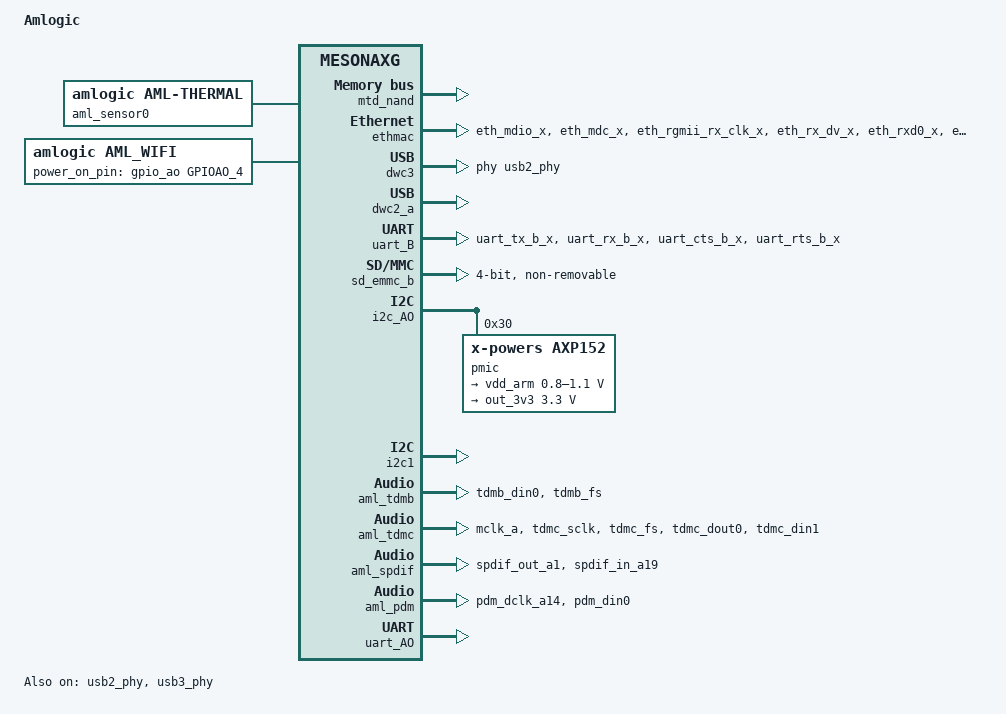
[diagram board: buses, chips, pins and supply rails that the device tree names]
/*
 * arch/arm64/boot/dts/amlogic/axg_s42a3_v03.dts
 *
 * Copyright (C) 2017 Amlogic, Inc. All rights reserved.
 *
 * This program is free software; you can redistribute it and/or modify
 * it under the terms of the GNU General Public License as published by
 * the Free Software Foundation; either version 2 of the License, or
 * (at your option) any later version.
 *
 * This program is distributed in the hope that it will be useful, but WITHOUT
 * ANY WARRANTY; without even the implied warranty of MERCHANTABILITY or
 * FITNESS FOR A PARTICULAR PURPOSE.  See the GNU General Public License for
 * more details.
 *
 */

/dts-v1/;

#include "mesonaxg.dtsi"

/ {
	model = "Amlogic";
	amlogic-dt-id = "axg_sue_s1832";
	compatible = "sue,stream1832", "amlogic, axg";
	interrupt-parent = <&gic>;
	#address-cells = <2>;
	#size-cells = <2>;

	cpu_opp_table: cpu_opp_table {
		compatible = "operating-points-v2";
		opp-shared;

		opp100MHz: opp@100000000 {
			opp-hz = /bits/ 64 <100000000>;
			opp-microvolt = <875000>;
		};
		opp250MHz: opp@250000000 {
			opp-hz = /bits/ 64 <250000000>;
			opp-microvolt = <875000>;
		};
		opp500MHz: opp@500000000 {
			opp-hz = /bits/ 64 <500000000>;
			opp-microvolt = <875000>;
		};
		opp667MHz: opp@667000000 {
			opp-hz = /bits/ 64 <667000000>;
			opp-microvolt = <900000>;
		};
		opp1GHz: opp@1000000000 {
			opp-hz = /bits/ 64 <1000000000>;
			opp-microvolt = <975000>;
		};
		opp1_2GHz: opp@1200000000 {
			opp-hz = /bits/ 64 <1200000000>;
			opp-microvolt = <1000000>;
		};
		opp1_3GHz: opp@1296000000 {
			opp-hz = /bits/ 64 <1296000000>;
			opp-microvolt = <1050000>;
		};
		opp1_4GHz: opp@1416000000 {
			opp-hz = /bits/ 64 <1416000000>;
			opp-microvolt = <1100000>;
		};
	};


	aliases {
		serial0 = &uart_AO;
		serial1 = &uart_B;
	};

	memory@00000000 {
		device_type = "memory";
		linux,usable-memory = <0x0 0x000000 0x0 0x20000000>;
	};

	reserved-memory {
		#address-cells = <2>;
		#size-cells = <2>;
		ranges;
		/* global autoconfigured region for contiguous allocations */
		secmon_reserved:linux,secmon {
			compatible = "shared-dma-pool";
			reusable;
			size = <0x0 0x400000>;
			alignment = <0x0 0x400000>;
			alloc-ranges = <0x0 0x05000000 0x0 0x400000>;
		};

		secos_reserved:linux,secos {
			status = "disable";
			compatible = "amlogic, aml_secos_memory";
			reg = <0x0 0x05300000 0x0 0x2000000>;
			no-map;
		};
	};
	mtd_nand {
		compatible = "amlogic, aml_mtd_nand";
		dev_name = "mtdnand";
		status = "okay";
		reg = <0x0 0xFFE07800 0x0 0x200>;
		interrupts = <	0 34 1 >;
		pinctrl-names = "nand_rb_mod","nand_norb_mod", "nand_cs_only";
		pinctrl-0 = <&all_nand_pins>;
		pinctrl-1 = <&all_nand_pins>;
		pinctrl-2 = <&nand_cs_pins>;
		device_id = <0>;

		/*fip/tpl configurations, must be same
		 * with uboot if bl_mode was set as 1
		 * bl_mode: 0 compact mode; 1 descrete mode
		 * if bl_mode was set as 1, fip configeration will work
		 */
		bl_mode = <1>;
		/*copy count of fip*/
		fip_copies = <4>;
		/*size of each fip copy */
		fip_size = <0x200000>;
		nand_clk_ctrl = <0xFFE07000>;
		plat-names = "bootloader","nandnormal";
		plat-num = <2>;
		plat-part-0 = <&bootloader>;
		plat-part-1 = <&nandnormal>;
		bootloader: bootloader{
			enable_pad ="ce0";
			busy_pad = "rb0";
			timming_mode = "mode5";
			bch_mode = "bch8_1k";
			t_rea = <20>;
			t_rhoh = <15>;
			chip_num = <1>;
			part_num = <0>;
			rb_detect = <1>;
		};
		nandnormal: nandnormal{
			enable_pad ="ce0";
			busy_pad = "rb0";
			timming_mode = "mode5";
			bch_mode = "bch8_1k";
			plane_mode = "twoplane";
			t_rea = <20>;
			t_rhoh = <15>;
			chip_num = <2>;
			part_num = <3>;
			partition = <&nand_partitions>;
			rb_detect = <1>;
		};
		nand_partitions:nand_partition{
			/*
			 * if bl_mode is 1, tpl size was generate by
			 * fip_copies * fip_size which
			 * will not skip bad when calculating
			 * the partition size;
			 *
			 * if bl_mode is 0,
			 * tpl partition must be comment out.
			 */
			tpl{
				offset=<0x0 0x0>;
				size=<0x0 0x0>;
			};
			swuenv{
				offset=<0x0 0x0>;
				size=<0x0 0x80000>;
			};
			swufit{
				offset=<0x0 0x0>;
				size=<0x0 0x2000000>;
			};
			fit{
				offset=<0x0 0x0>;
				size=<0x0 0xC00000>;
			};
			constants{
				offset=<0x0 0x0>;
				size=<0x0 0x80000>;
			};
			data{
				offset=<0xffffffff 0xffffffff>;
				size=<0x0 0x0>;
			};
		};
	};


	ethmac: ethernet@0xff3f0000 {
			compatible = "amlogic, gxbb-eth-dwmac";

			pinctrl-0 = <&external_eth_pins_x>;
			pinctrl-names = "external_eth_pins";

			reg = <0x0 0xff3f0000 0x0 0x10000 0x0 0xff634540 0x0 0x8>;
			interrupts = <0 8 1>;
			mc_val_external_phy = <0x180C>;
			interrupt-names = "macirq";
			clocks = <&clkc CLKID_ETH_CORE>;
			clock-names = "ethclk81";
			internal_phy=<0>;

			snps,reset-gpio = <&gpio_ao GPIOAO_7 GPIO_ACTIVE_LOW>;
			snps,reset-active-low = <1>;
			snps,reset-delays-us = <1000 10000 1000>;
	};

	aml_sensor0: aml-sensor@0 {
		compatible = "amlogic, aml-thermal";
		device_name = "thermal";
		#thermal-sensor-cells = <1>;
		cooling_devices {
			cpufreq_cool_cluster0 {
				min_state = <1000000>;
				dyn_coeff = <140>;
				cluster_id = <0>;
				node_name = "cpufreq_cool0";
				device_type = "cpufreq";
			};
			cpucore_cool_cluster0 {
				min_state = <1>;
				dyn_coeff = <0>;
				cluster_id = <0>;
				node_name = "cpucore_cool0";
				device_type = "cpucore";
			};
		};
		cpufreq_cool0:cpufreq_cool0 {
			#cooling-cells = <2>; /* min followed by max */
		};
		cpucore_cool0:cpucore_cool0 {
			#cooling-cells = <2>; /* min followed by max */
		};
	};
	thermal-zones {
		soc_thermal {
			polling-delay = <1000>;
			polling-delay-passive = <100>;
			sustainable-power = <1050>;

			thermal-sensors = <&aml_sensor0 3>;

			trips {
				switch_on: trip-point@0 {
					temperature = <70000>;
					hysteresis = <1000>;
					type = "passive";
				};
				control: trip-point@1 {
					temperature = <80000>;
					hysteresis = <1000>;
					type = "passive";
				};
				hot: trip-point@2 {
					temperature = <85000>;
					hysteresis = <5000>;
					type = "hot";
				};
				critical: trip-point@3 {
					temperature = <260000>;
					hysteresis = <1000>;
					type = "critical";
				};
			};

			cooling-maps {
				cpufreq_cooling_map {
					trip = <&control>;
					cooling-device = <&cpufreq_cool0 0 4>;
					contribution = <1024>;
				};
				cpucore_cooling_map {
					trip = <&control>;
					cooling-device = <&cpucore_cool0 0 3>;
					contribution = <1024>;
				};
			};
		};
	};

	dwc3: dwc3@ff500000 {
		compatible = "synopsys, dwc3";
		status = "okay";
		reg = <0x0 0xff500000 0x0 0x100000>;
		interrupts = <0 30 4>;
		usb-phy = <&usb2_phy>, <&usb3_phy>;
		cpu-type = "gxl";
		clock-src = "usb3.0";
		clocks = <&clkc CLKID_USB_GENERAL>;
		clock-names = "dwc_general";
	};

	usb2_phy: usb2phy@ffe09000 {
		compatible = "amlogic, amlogic-new-usb2";
		status = "okay";
		portnum = <4>;
		reg = <0x0 0xffe09000 0x0 0x80
					0x0 0xffd01008 0x0 0x4>;
	};

	usb3_phy: usb3phy@ffe09080 {
		compatible = "amlogic, amlogic-new-usb3";
		status = "okay";
		portnum = <0>;
		reg = <0x0 0xffe09080 0x0 0x20>;
		interrupts = <0 16 4>;
		otg = <1>;

		gpio-vbus-power = "GPIOAO_12";
		gpios = <&gpio_ao GPIOAO_12 GPIO_ACTIVE_HIGH>;
	};

	dwc2_a {
		compatible = "amlogic, dwc2";
		device_name = "dwc2_a";
		reg = <0x0 0xff400000 0x0 0x40000>;
		status = "okay";
		interrupts = <0 31 4>;
		pl-periph-id = <0>; /** lm name */
		clock-src = "usb0"; /** clock src */
		port-id = <0>;  /** ref to mach/usb.h */
		port-type = <2>;        /** 0: otg, 1: host, 2: slave */
		port-speed = <0>; /** 0: default, high, 1: full */
		port-config = <0>; /** 0: default */
		/*0:default,1:single,2:incr,3:incr4,4:incr8,5:incr16,6:disable*/
		port-dma = <0>;
		port-id-mode = <0>; /** 0: hardware, 1: sw_host, 2: sw_slave*/
		usb-fifo = <728>;
		cpu-type = "gxl";
		/** 0: normal, 1: otg+dwc3 host only, 2: otg+dwc3 device only*/
		controller-type = <3>;
		phy-reg = <0xffe09000>;
		phy-reg-size = <0xa0>;
		clocks = <&clkc CLKID_USB_GENERAL
			&clkc CLKID_USB1_TO_DDR
			&clkc CLKID_USB1>;
		clock-names = "usb_general",
			"usb1",
			"usb1_to_ddr";
	};

	uart_B: serial@ffd23000 {
		compatible = "amlogic, meson-uart";
		reg = <0x0 0xffd23000 0x0 0x18>;
		interrupts = <0 75 1>;
		status = "okay";
		clocks = <&xtal
			&clkc CLKID_UART1>;
		clock-names = "clk_uart",
			"clk_gate";
		fifosize = < 64 >;
		pinctrl-names = "default";
		pinctrl-0 = <&uart_b_pins_x>;
	};

	/* Sound iomap */
	aml_snd_iomap {
		compatible = "amlogic, axg-snd-iomap";
		status = "okay";
		#address-cells=<2>;
		#size-cells=<2>;
		ranges;
		pdm_bus {
			reg = <0x0 0xFF632000 0x0 0x20>;
		};
		audiobus_base {
			reg = <0x0 0xFF642000 0x0 0x2000>;
		};
	};
	pdm_codec:dummy{
		#sound-dai-cells = <0>;
		compatible = "amlogic, pdm_dummy_codec";
		status = "okay";
	};
	dummy_codec:dummy{
		#sound-dai-cells = <0>;
		compatible = "amlogic, aml_dummy_codec";
		status = "okay";
	};

	auge_sound {
		compatible = "amlogic, axg-sound-card";
		aml-audio-card,name = "AML-AUGESOUND";

		/*
		aml-audio-card,loopback = <&aml_loopback>;
		*/

		spk_mute = <&gpio_ao GPIOAO_13 GPIO_ACTIVE_LOW>;

		aml-audio-card,dai-link@1 {
			format = "i2s";
			mclk-fs = <256>;
			bitclock-master = <&aml_tdmb>;
			frame-master = <&aml_tdmb>;
			cpu {
				sound-dai = <&aml_tdmb>;
				dai-tdm-slot-tx-mask = <1 1>;
				dai-tdm-slot-rx-mask = <1 1>;
				dai-tdm-slot-num = <2>;
				dai-tdm-slot-width = <32>;
				system-clock-frequency = <12288000>;
			};
			codec {
				sound-dai = <&dummy_codec>;
			};
		};

		aml-audio-card,dai-link@2 {
			format = "i2s";
			mclk-fs = <512>;
			continuous-clock;
			bitclock-master = <&aml_tdmc>;
			frame-master = <&aml_tdmc>;
			cpu {
				sound-dai = <&aml_tdmc>;
				dai-tdm-slot-tx-mask = <1 1>;
				dai-tdm-slot-rx-mask = <1 1>;
				dai-tdm-slot-num = <2>;
				dai-tdm-slot-width = <32>;
				system-clock-frequency = <24576000>;
			};
			codec {
				sound-dai = <&dummy_codec>;
			};
		};

		aml-audio-card,dai-link@3 {
			mclk-fs = <256>;
			cpu {
				sound-dai = <&aml_pdm>;
			};
			codec {
				sound-dai = <&pdm_codec>;
			};
		};

		aml-audio-card,dai-link@4 {
			mclk-fs = <128>;
			cpu {
				sound-dai = <&aml_spdif>;
				system-clock-frequency = <6144000>;
			};
			codec {
				sound-dai = <&dummy_codec>;
			};
		};
	};

	wifi {
		compatible = "amlogic, aml_wifi";
		dev_name = "aml_wifi";
		status = "okay";

		power_on_pin = <&gpio_ao GPIOAO_4 GPIO_ACTIVE_HIGH>;
	};

	sd_emmc_c: emmc@ffe07000 {
		status = "disabled";
		compatible = "amlogic, meson-mmc-axg";
		reg = <0x0 0xffe07000 0x0 0x2000>;
		interrupts = <0 218 1>;
		pinctrl-names = "emmc_clk_cmd_pins", "emmc_all_pins";
		pinctrl-0 = <&emmc_clk_cmd_pins>;
		pinctrl-1 = <&emmc_conf_pull_up &emmc_conf_pull_done>;
		clocks = <&clkc CLKID_SD_EMMC_C>,
			   <&clkc CLKID_SD_EMMC_C_P0_COMP>,
			   <&clkc CLKID_FCLK_DIV2>,
			   <&clkc CLKID_FCLK_DIV5>,
			   <&xtal>;
		clock-names = "core", "clkin0", "clkin1", "clkin2", "xtal";

		bus-width = <8>;
		cap-sd-highspeed;
		cap-mmc-highspeed;
		mmc-ddr-1_8v;
		mmc-hs200-1_8v;

		max-frequency = <200000000>;
		non-removable;
		disable-wp;
		emmc {
			status = "disabled";
			pinname = "emmc";
			ocr_avail = <0x200080>; /**VDD voltage 3.3 ~ 3.4 */
			caps = "MMC_CAP_8_BIT_DATA",
				 "MMC_CAP_MMC_HIGHSPEED",
				 "MMC_CAP_SD_HIGHSPEED",
				 "MMC_CAP_NONREMOVABLE",
				 "MMC_CAP_1_8V_DDR",
				 "MMC_CAP_HW_RESET",
				 "MMC_CAP_ERASE",
				 "MMC_CAP_CMD23";
			/*caps2 = "MMC_CAP2_HS200", "MMC_CAP2_HS400";*/
			f_min = <400000>;
			f_max = <100000000>;
			max_req_size = <0x20000>; /**128KB*/
			gpio_dat3 = <&gpio BOOT_3 GPIO_ACTIVE_HIGH>;
			hw_reset = <&gpio BOOT_9 GPIO_ACTIVE_HIGH>;
			pinmux_base = <0xff634400>;
			card_type = <1>;
			/* 1:mmc card(include eMMC),
			 * 2:sd card(include tSD)
			 */
		};
	};

	sd_emmc_b:sdio@ffe05000 {
		status = "okay";
		compatible = "amlogic, meson-mmc-axg";
		reg = <0x0 0xffe05000 0x0 0x2000>;
		interrupts = <0 217 4>;
		pinctrl-names = "sdio_clk_cmd_pins", "sdio_all_pins";
		pinctrl-0 = <&sdio_clk_cmd_pins>;
		pinctrl-1 = <&sdio_all_pins>;
		clocks = <&clkc CLKID_SD_EMMC_B>,
			   <&clkc CLKID_SD_EMMC_B_P0_COMP>,
			   <&clkc CLKID_FCLK_DIV2>;
		clock-names = "core", "clkin0", "clkin1";

		bus-width = <4>;
		cap-sd-highspeed;
		cap-mmc-highspeed;
		max-frequency = <100000000>;
		non-removable;
		disable-wp;
		sdio {
			pinname = "sdio";
			ocr_avail = <0x200080>; /**VDD voltage 3.3 ~ 3.4 */
			caps = "MMC_CAP_4_BIT_DATA",
				 "MMC_CAP_MMC_HIGHSPEED",
				 "MMC_CAP_SD_HIGHSPEED",
				 "MMC_CAP_NONREMOVABLE",
				 "MMC_CAP_UHS_SDR12",
				 "MMC_CAP_UHS_SDR25",
				 "MMC_CAP_UHS_SDR50",
				 "MMC_CAP_UHS_SDR104",
				 "MMC_PM_KEEP_POWER",
				 "MMC_CAP_SDIO_IRQ";
			f_min = <400000>;
			f_max = <200000000>;
			max_req_size = <0x20000>; /**128KB*/
			card_type = <3>;
			/* 3:sdio device(ie:sdio-wifi),
			 * 4:SD combo (IO+mem) card
			 */
		};
	};

	partitions: partitions{
		parts = <11>;
		part-0 = <&logo>;
		part-1 = <&recovery>;
		part-2 = <&rsv>;
		part-3 = <&tee>;
		part-4 = <&crypt>;
		part-5 = <&misc>;
		part-6 = <&instaboot>;
		part-7 = <&boot>;
		part-8 = <&system>;
		part-9 = <&cache>;
		part-10 = <&data>;

		logo:logo{
			pname = "logo";
			size = <0x0 0x2000000>;
			mask = <1>;
		};
		recovery:recovery{
			pname = "recovery";
			size = <0x0 0x2000000>;
			mask = <1>;
		};
		rsv:rsv{
			pname = "rsv";
			size = <0x0 0x800000>;
			mask = <1>;
		};
		tee:tee{
			pname = "tee";
			size = <0x0 0x800000>;
			mask = <1>;
		};
		crypt:crypt{
			pname = "crypt";
			size = <0x0 0x2000000>;
			mask = <1>;
		};
		misc:misc{
			pname = "misc";
			size = <0x0 0x2000000>;
			mask = <1>;
		};
		instaboot:instaboot{
			pname = "instaboot";
			size = <0x0 0x400000>;
			mask = <1>;
		};
		boot:boot
		{
			pname = "boot";
			size = <0x0 0x2000000>;
			mask = <1>;
		};
		system:system
		{
			pname = "system";
			size = <0x0 0x80000000>;
			mask = <1>;
		};
		cache:cache
		{
			pname = "cache";
			size = <0x0 0x20000000>;
			mask = <2>;
		};
		data:data
		{
			pname = "data";
			size = <0xffffffff 0xffffffff>;
			mask = <4>;
		};
	};

	unifykey{
		compatible = "amlogic, unifykey";
		status = "ok";

		unifykey-num = <6>;
		unifykey-index-0 = <&keysn_0>;
		unifykey-index-1 = <&keysn_1>;
		unifykey-index-2 = <&keysn_2>;
		unifykey-index-3 = <&keysn_3>;
		unifykey-index-4 = <&keysn_4>;
		unifykey-index-5 = <&keysn_5>;

		keysn_0: key_0{
			key-name = "usid";
			key-device = "normal";
			key-permit = "read","write","del";
		};
		keysn_1:key_1{
			key-name = "mac";
			key-device = "normal";
			key-permit = "read","write","del";
		};
		keysn_2:key_2{
			key-name = "secure_boot_set";
			key-device = "efuse";
			key-permit = "write";
		};
		keysn_3:key_3{
			key-name = "mac_bt";
			key-device = "normal";
			key-permit = "read","write","del";
			key-type  = "mac";
		};
		keysn_4:key_4{
			key-name = "mac_wifi";
			key-device = "normal";
			key-permit = "read","write","del";
			key-type = "mac";
		};
		keysn_5:key_5{
			key-name = "deviceid";
			key-device = "normal";
			key-permit = "read","write","del";
		};
	};
};

&CPU0 {
	cpu-supply = <&vdd_arm>;
	operating-points-v2 = <&cpu_opp_table>;
};

&CPU1 {
	operating-points-v2 = <&cpu_opp_table>;
};

&CPU2 {
	operating-points-v2 = <&cpu_opp_table>;
};

&CPU3 {
	operating-points-v2 = <&cpu_opp_table>;
};

/*
&efuse {
	status = "ok";
};
*/

&i2c_AO {
	status = "okay";
	pinctrl-names="default";
	pinctrl-0 = <&ao_i2c_master_pin2>;

	pmic: axp152@30 {
		compatible = "x-powers,axp152";
		reg = <0x30>;
		no-irq;

		regulators {
			vdd_arm: dcdc2 {
				regulator-name = "vdd_arm";
				regulator-min-microvolt = <800000>;
				regulator-max-microvolt = <1100000>;
				regulator-boot-on;
				regulator-always-on;
			};

			out_3v3: ldo0 {
				regulator-name = "3v3_out";
				regulator-min-microvolt = <3300000>;
				regulator-max-microvolt = <3300000>;
				regulator-boot-on;
				regulator-always-on;

				regulator-state-mem {
					regulator-off-in-suspend;
				};
			};
		};
	};
};

&i2c1 {
	status = "okay";
	pinctrl-names="default";
	pinctrl-0=<&b_i2c_master>;
};

&remote {
	status = "disabled";
};

&audiobus {
	aml_tdmb: tdmb {
		compatible = "amlogic, snd-tdmb";
		#sound-dai-cells = <0>;
		dai-tdm-lane-slot-mask-in = <1>;
		dai-tdm-clk-sel = <1>;
		clocks = <&clkaudio CLKID_AUDIO_MCLK_B
				&clkc CLKID_MPLL1>;
		clock-names = "mclk", "clk_srcpll";
		pinctrl-names = "tdm_pins";
		pinctrl-0 = <&tdmin_b_pins>;
		status = "okay";
	};

	aml_tdmc: tdmc {
		compatible = "amlogic, snd-tdmc";
		#sound-dai-cells = <0>;
		dai-tdm-lane-slot-mask-out = <1 0>;
		dai-tdm-lane-slot-mask-in = <0 1>;
		dai-tdm-clk-sel = <2>;
		clocks = <&clkaudio CLKID_AUDIO_MCLK_C
				&clkc CLKID_MPLL2>;
		clock-names = "mclk", "clk_srcpll";
		pinctrl-names = "tdm_pins";
		pinctrl-0 = <&tdmc_mclk_pins &tdmout_c_pins &tdmin_c_pins>;
		status = "okay";
	};

	aml_spdif: spdif {
		compatible = "amlogic, snd-spdif";
		#sound-dai-cells = <0>;
		clocks = <&clkc CLKID_MPLL0
				&clkc CLKID_FCLK_DIV4
				&clkaudio CLKID_AUDIO_SPDIFIN
				&clkaudio CLKID_AUDIO_SPDIFOUT
				&clkaudio CLKID_AUDIO_SPDIFIN_CTRL
				&clkaudio CLKID_AUDIO_SPDIFOUT_CTRL>;
		clock-names = "sysclk", "fixed_clk", "gate_spdifin",
				"gate_spdifout", "clk_spdifin", "clk_spdifout";
		interrupts =
				<GIC_SPI 87 IRQ_TYPE_EDGE_RISING>;

		interrupt-names = "irq_spdifin";
		pinctrl-names = "spdif_pins";
		pinctrl-0 = <&spdifout_pins &spdifin_pins>;
		status = "okay";
	};

	aml_pdm: pdm {
		compatible = "amlogic, snd-pdm";
		#sound-dai-cells = <0>;
		clocks = <&clkaudio CLKID_AUDIO_PDM
			&clkc CLKID_FCLK_DIV3
			&clkc CLKID_MPLL3
			&clkaudio CLKID_AUDIO_PDMIN0
			&clkaudio CLKID_AUDIO_PDMIN1>;
		clock-names = "gate",
			"sysclk_srcpll",
			"dclk_srcpll",
			"pdm_dclk",
			"pdm_sysclk";
		pinctrl-names = "pdm_pins";
		pinctrl-0 = <&pdmin_pins>;
		filter_mode = <1>; /* mode 0~4, defalut:1 */
		status = "okay";
	};

	aml_loopback: loopback {
		compatible = "amlogic, snd-loopback";
		/*
		 * 0: out rate = in data rate;
		 * 1: out rate = loopback data rate;
		 */
		lb_mode = <0>;

		/* datain src
		 * 0: tdmin_a;
		 * 1: tdmin_b;
		 * 2: tdmin_c;
		 * 3: spdifin;
		 * 4: pdmin;
		 */
		datain_src = <4>;
		datain_chnum = <8>;
		datain_chmask = <0x7f>;

		/* tdmin_lb src
		 * 0: tdmoutA
		 * 1: tdmoutB
		 * 2: tdmoutC
		 * 3: PAD_tdminA
		 * 4: PAD_tdminB
		 * 5: PAD_tdminC
		 */
		datalb_src = <2>;
		datalb_chnum = <2>;
		datalb_chmask = <0x1>;

		status = "disabled";
	};
};

&aobus{
	uart_AO: serial@3000 {
		compatible = "amlogic, meson-uart";
		reg = <0x0 0x3000 0x0 0x18>;
		interrupts = <0 193 1>;
		status = "okay";
		clocks = <&xtal>;
		clock-names = "clk_uart";
		xtal_tick_en = <1>;
		fifosize = < 64 >;
		pinctrl-names = "default";
		pinctrl-0 = <&ao_uart_pins>;
		support-sysrq = <0>;	/* 0 not support , 1 support */
	};
};

&pinctrl_aobus {
};

&pinctrl_periphs {
	external_eth_pins_x:external_eth_pins_x {
		mux {
			groups = "eth_mdio_x",
				"eth_mdc_x",
				"eth_rgmii_rx_clk_x",
				"eth_rx_dv_x",
				"eth_rxd0_x",
				"eth_rxd1_x",
				"eth_txen_x",
				"eth_txd0_x",
				"eth_txd1_x";
			function = "eth";
		};
	};

	uart_b_pins_x:uart_b_pins_x {
		mux {
			groups = "uart_tx_b_x",
				"uart_rx_b_x",
				"uart_cts_b_x",
				"uart_rts_b_x";
			function = "uart_b";
		};
	};

	tdmin_b_pins:tdmin_b_pins {
		groups = "tdmb_din0",
			"tdmb_fs";
		function = "tdmb_in";
	};

	tdmc_mclk_pins:tdmc_mclk_pins {
		mux {
			groups = "mclk_a";
			function = "mclk_a";
		};
	};

	tdmout_c_pins:tdmout_c_pins {
		mux {
			groups = "tdmc_sclk",
				"tdmc_fs",
				"tdmc_dout0";
			function = "tdmc_out";
		};
	};

	tdmin_c_pins:tdmin_c_pins {
		mux {
			groups = "tdmc_din1";
			function = "tdmc_in";
		};
	};

	spdifout_pins:spidfout_pins {
		mux {
			groups = "spdif_out_a1";
			function = "spdif_out";
		};
	};

	spdifin_pins:spidfin_pins {
		mux {
			groups = "spdif_in_a19";
			function = "spdif_in";
		};
	};

	pdmin_pins:pdmin_pins {
		mux {
			groups = "pdm_dclk_a14",
				"pdm_din0";
			function = "pdm";
		};
	};
};
